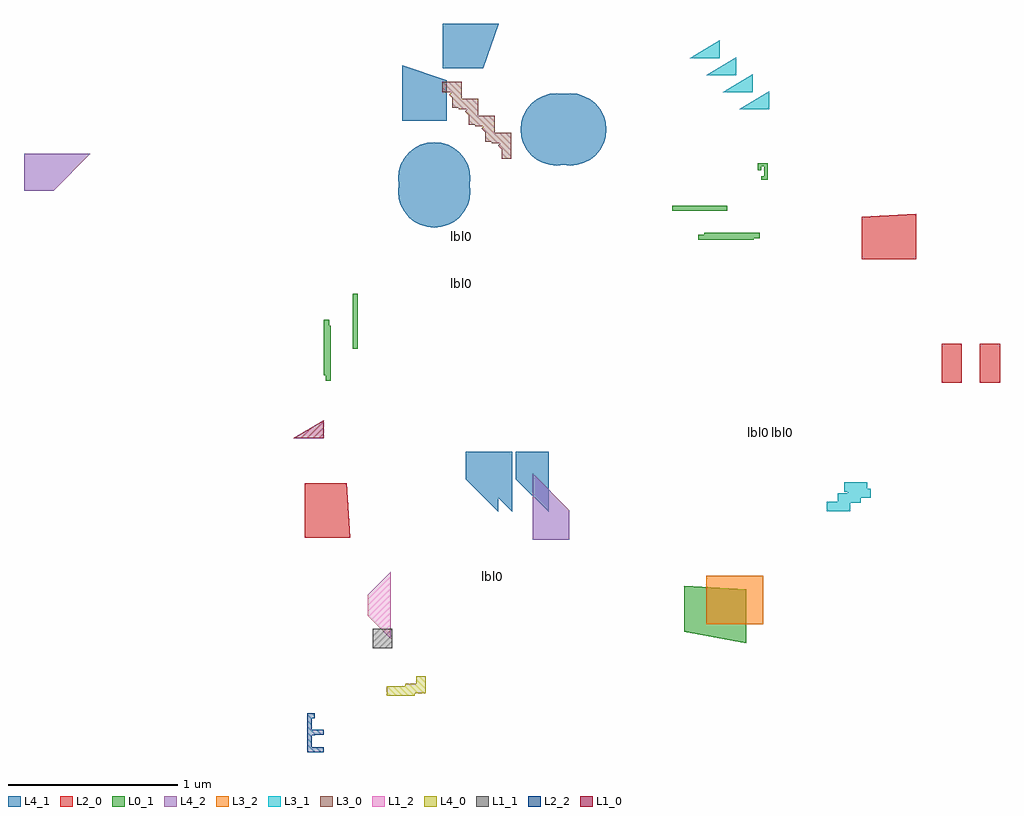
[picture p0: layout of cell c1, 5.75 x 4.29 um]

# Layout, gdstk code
from math import pi, radians
import gdstk
lib = gdstk.Library(unit=1e-6, precision=1e-09)
def R(c, l, rs):  # rectangles x0, y0, x1, y1
    for r in rs: c.add(gdstk.rectangle(r[:2], r[2:], *l))
def P(c, l, *ps):  # polygons
    for p in ps: c.add(gdstk.Polygon(p, *l))
L0_1 = (0, 1)
L1_0 = (1, 0)
L1_1 = (1, 1)
L1_2 = (1, 2)
L2_0 = (2, 0)
L2_2 = (2, 2)
L3_0 = (3, 0)
L3_1 = (3, 1)
L3_2 = (3, 2)
L4_0 = (4, 0)
L4_1 = (4, 1)
L4_2 = (4, 2)

c_c0 = lib.new_cell('c0')
R(c_c0, L0_1, [(0.535,-0.901,0.566,-0.576), (0.545,-0.866,0.576,-0.541), (0.375,-0.711,0.406,-0.386)])
P(c_c0, L2_0, [(0.44,-1.504),(0.689,-1.504),(0.689,-1.825),(0.421,-1.825)])
P(c_c0, L4_1, [(0.139,0.215),(0.135,0.257),(0.123,0.297),(0.103,0.333),(0.077,0.366),(0.044,0.392),(0.008,0.412),(-0.032,0.424),(-0.074,0.428),(-0.116,0.424),(-0.156,0.412),(-0.192,0.392),(-0.225,0.366),(-0.251,0.333),(-0.271,0.297),(-0.283,0.257),(-0.287,0.215),(-0.283,0.173),(-0.271,0.133),(-0.251,0.097),(-0.225,0.064),(-0.192,0.038),(-0.156,0.018),(-0.116,0.006),(-0.074,0.002),(-0.032,0.006),(0.008,0.018),(0.044,0.038),(0.077,0.064),(0.103,0.097),(0.123,0.133),(0.135,0.173)],
  [(0.139,0.293),(0.135,0.335),(0.123,0.375),(0.103,0.411),(0.077,0.444),(0.044,0.47),(0.008,0.49),(-0.032,0.502),(-0.074,0.506),(-0.116,0.502),(-0.156,0.49),(-0.192,0.47),(-0.225,0.444),(-0.251,0.411),(-0.271,0.375),(-0.283,0.335),(-0.287,0.293),(-0.283,0.251),(-0.271,0.211),(-0.251,0.175),(-0.225,0.142),(-0.192,0.116),(-0.156,0.096),(-0.116,0.084),(-0.074,0.08),(-0.032,0.084),(0.008,0.096),(0.044,0.116),(0.077,0.142),(0.103,0.175),(0.123,0.211),(0.135,0.251)],
  [(-0.453,1.202),(-0.124,1.202),(-0.124,0.942),(-0.364,0.942)])
P(c_c0, L4_2, [(2.168,0.219),(1.951,0.436),(2.342,0.436),(2.342,0.219)])
c_c0.add(gdstk.Label('lbl1', (-0.218,0.66), layer=1, texttype=2))
c_c0.add(gdstk.Label('lbl1', (-0.058,0.47), layer=1, texttype=2))
c_c0.add(gdstk.Label('lbl1', (-0.048,0.505), layer=1, texttype=2))
c_c0.add(gdstk.Label('lbl2', (-0.859,-0.607), layer=1, texttype=2))
c_c0.add(gdstk.Label('lbl2', (-0.792,-0.476), layer=1, texttype=2))
c_c0.add(gdstk.Label('lbl2', (-0.653,-0.301), layer=1, texttype=2))
c_c0.add(gdstk.Label('lbl0', (1.672,1.619), layer=4, texttype=0))
c_c0.add(gdstk.Label('lbl0', (1.734,1.619), layer=4, texttype=0))
c_c0.add(gdstk.Label('lbl0', (1.796,1.619), layer=4, texttype=0))
c_c0.add(gdstk.Label('lbl0', (1.672,1.707), layer=4, texttype=0))
c_c0.add(gdstk.Label('lbl0', (1.734,1.707), layer=4, texttype=0))
c_c0.add(gdstk.Label('lbl0', (1.796,1.707), layer=4, texttype=0))
c_c0.add(gdstk.Label('lbl0', (1.672,1.795), layer=4, texttype=0))
c_c0.add(gdstk.Label('lbl0', (1.734,1.795), layer=4, texttype=0))
c_c0.add(gdstk.Label('lbl0', (1.796,1.795), layer=4, texttype=0))
c_c0.add(gdstk.Label('lbl0', (1.672,1.883), layer=4, texttype=0))
c_c0.add(gdstk.Label('lbl0', (1.734,1.883), layer=4, texttype=0))
c_c0.add(gdstk.Label('lbl0', (1.796,1.883), layer=4, texttype=0))

c_c1 = lib.new_cell('c1')
P(c_c1, L0_1, [(0.321,-1.2),(0.321,-0.931),(0.687,-0.951),(0.687,-1.269)])
P(c_c1, L1_0, [(-1.98,-0.061),(-1.802,-0.061),(-1.802,0.045)])
R(c_c1, L1_1, [(-1.512,-1.299,-1.397,-1.184)])
P(c_c1, L1_2, [(-1.541,-1.108),(-1.541,-0.983),(-1.406,-0.848),(-1.406,-1.243)])
R(c_c1, L2_0, [(1.84,0.266,1.958,0.494), (2.064,0.266,2.182,0.494)])
R(c_c1, L3_1, [(1.163,-0.491,1.299,-0.436), (1.227,-0.441,1.363,-0.386), (1.285,-0.413,1.421,-0.358), (1.265,-0.377,1.401,-0.322)])
P(c_c1, L3_1, [(0.645,1.877),(0.823,1.877),(0.823,1.983)],
  [(0.548,1.977),(0.726,1.977),(0.726,2.083)],
  [(0.451,2.077),(0.629,2.077),(0.629,2.183)],
  [(0.354,2.177),(0.532,2.177),(0.532,2.283)])
R(c_c1, L3_2, [(0.453,-1.158,0.788,-0.872)])
P(c_c1, L4_1, [(-0.965,-0.303),(-0.965,-0.142),(-0.773,-0.142),(-0.773,-0.495)],
  [(-0.882,-0.303),(-0.882,-0.142),(-0.69,-0.142),(-0.69,-0.495)],
  [(-0.669,-0.303),(-0.669,-0.142),(-0.477,-0.142),(-0.477,-0.495)])
c_c1.add(gdstk.FlexPath([(0.765,1.516),(0.765,1.549),(0.805,1.549),(0.805,1.472),(0.786,1.472)], 0.02, ends=(0, 0.01), simple_path=True, layer=0, datatype=1))  # L0_1
c_c1.add(gdstk.FlexPath([(-0.774,1.668),(-0.774,1.701),(-0.734,1.701),(-0.734,1.624),(-0.753,1.624)], 0.076, ends=(-0.007, 0), simple_path=True, layer=3, datatype=0))  # L3_0
c_c1.add(gdstk.FlexPath([(-0.871,1.768),(-0.871,1.801),(-0.831,1.801),(-0.831,1.724),(-0.85,1.724)], 0.076, ends=(-0.007, 0), simple_path=True, layer=3, datatype=0))  # L3_0
c_c1.add(gdstk.FlexPath([(-0.968,1.868),(-0.968,1.901),(-0.928,1.901),(-0.928,1.824),(-0.947,1.824)], 0.076, ends=(-0.007, 0), simple_path=True, layer=3, datatype=0))  # L3_0
c_c1.add(gdstk.FlexPath([(-1.065,1.968),(-1.065,2.001),(-1.025,2.001),(-1.025,1.924),(-1.044,1.924)], 0.076, ends=(-0.007, 0), simple_path=True, layer=3, datatype=0))  # L3_0
c_c1.add(gdstk.FlexPath([(-1.793,-1.896),(-1.885,-1.896),(-1.885,-1.798),(-1.855,-1.798)], 0.028, ends=(-0.007, 0), simple_path=True, layer=2, datatype=2))  # L2_2
c_c1.add(gdstk.FlexPath([(-1.793,-1.793),(-1.885,-1.793),(-1.885,-1.695),(-1.855,-1.695)], 0.028, ends=(-0.007, 0), simple_path=True, layer=2, datatype=2))  # L2_2
c_c1.add(gdstk.FlexPath([(-1.43,-1.55),(-1.294,-1.55),(-1.294,-1.534),(-1.228,-1.534),(-1.228,-1.463)], 0.056, ends="flush", simple_path=True, layer=4, datatype=0))  # L4_0
c_c1.add(gdstk.Reference(c_c0, (-1.224,1.177), rotation=pi, x_reflection=True))
c_c1.add(gdstk.Reference(c_c0, (-0.135,1.683), rotation=3*pi/2, x_reflection=True))
c_c1.add(gdstk.Label('lbl0', (0.758,-0.027), layer=0, texttype=0))
c_c1.add(gdstk.Label('lbl0', (0.764,-0.027), layer=0, texttype=0))
c_c1.add(gdstk.Label('lbl0', (0.838,-0.027), layer=0, texttype=0))
c_c1.add(gdstk.Label('lbl0', (0.904,-0.027), layer=0, texttype=0))
c_c1.add(gdstk.Label('lbl0', (-0.988,0.848), layer=0, texttype=1))
c_c1.add(gdstk.Label('lbl0', (-0.988,1.126), layer=0, texttype=1))
c_c1.add(gdstk.Label('lbl0', (-0.988,1.162), layer=0, texttype=1))
c_c1.add(gdstk.Label('lbl0', (-0.809,-0.874), layer=0, texttype=2))
c_c1.add(gdstk.Label('lbl0', (-0.799,-0.874), layer=0, texttype=2))
c_c1.add(gdstk.Label('lbl0', (-0.689,-0.874), layer=0, texttype=2))

lib.write_gds('c1.gds')
